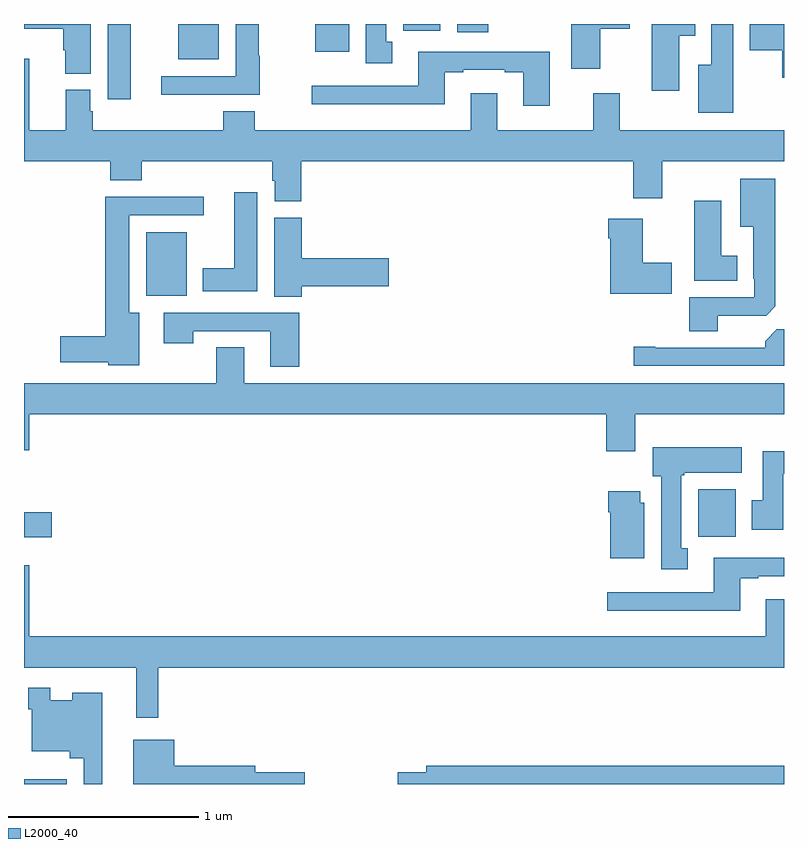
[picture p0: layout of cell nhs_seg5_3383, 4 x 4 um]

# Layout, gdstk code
import gdstk
lib = gdstk.Library(unit=1e-6, precision=1e-09)
def R(c, l, rs):  # rectangles x0, y0, x1, y1
    for r in rs: c.add(gdstk.rectangle(r[:2], r[2:], *l))
def P(c, l, *ps):  # polygons
    for p in ps: c.add(gdstk.Polygon(p, *l))
L2000_40 = (2000, 40)

nhs_seg5_3383 = lib.new_cell('nhs_seg5_3383')
R(nhs_seg5_3383, L2000_40, [(309,870.799,309.226,870.823), (309,872.099,309.145,872.229), (312.549,872.1,312.745,872.35), (309.644,873.368,309.856,873.703), (309.44,874.404,309.562,874.799), (309.812,874.613,310.024,874.799), (310.532,874.652,310.711,874.799), (311.279,874.755,311.443,874.799), (310.995,874.764,311.191,874.799)])
P(nhs_seg5_3383, L2000_40, [(312.448,874.736),(312.532,874.736),(312.532,874.799),(312.305,874.799),(312.305,874.449),(312.448,874.449)],
  [(310.939,874.705),(310.906,874.705),(310.906,874.799),(310.799,874.799),(310.799,874.593),(310.939,874.593)],
  [(310.241,874.631),(310.236,874.631),(310.236,874.799),(310.115,874.799),(310.115,874.524),(309.723,874.524),(309.723,874.427),(310.241,874.427)],
  [(313,874.799),(312.821,874.799),(312.821,874.661),(312.992,874.661),(312.992,874.515),(313,874.515)],
  [(312.034,874.774),(312.187,874.774),(312.187,874.799),(311.879,874.799),(311.879,874.563),(312.034,874.563)],
  [(312.733,874.799),(312.617,874.799),(312.617,874.585),(312.548,874.585),(312.548,874.331),(312.733,874.331)],
  [(309.352,874.799),(309,874.799),(309,874.775),(309.206,874.775),(309.206,874.661),(309.218,874.661),(309.218,874.537),(309.352,874.537)],
  [(311.767,874.654),(311.539,874.654),(311.539,874.653),(311.075,874.653),(311.075,874.473),(310.515,874.473),(310.515,874.376),(311.215,874.376),(311.215,874.545),(311.311,874.545),(311.311,874.557),(311.531,874.557),(311.531,874.545),(311.627,874.545),(311.627,874.368),(311.767,874.368)],
  [(309.349,874.341),(309.349,874.452),(309.221,874.452),(309.221,874.24),(309.028,874.24),(309.028,874.615),(309,874.615),(309,874.076),(309.455,874.076),(309.455,873.977),(309.62,873.977),(309.62,874.076),(310.307,874.076),(310.307,873.975),(310.319,873.975),(310.319,873.865),(310.46,873.865),(310.46,874.076),(312.206,874.076),(312.206,873.882),(312.358,873.882),(312.358,874.076),(313,874.076),(313,874.24),(312.136,874.24),(312.136,874.435),(311.996,874.435),(311.996,874.24),(311.491,874.24),(311.491,874.435),(311.351,874.435),(311.351,874.24),(310.214,874.24),(310.214,874.339),(310.049,874.339),(310.049,874.24),(309.362,874.24),(309.362,874.341)],
  [(312.652,873.264),(312.906,873.264),(312.955,873.313),(312.955,873.985),(312.77,873.985),(312.77,873.731),(312.839,873.731),(312.839,873.457),(312.843,873.457),(312.843,873.36),(312.5,873.36),(312.5,873.181),(312.652,873.181)],
  [(310.228,873.913),(310.106,873.913),(310.106,873.514),(309.941,873.514),(309.941,873.392),(310.228,873.392)],
  [(309.607,873.28),(309.553,873.28),(309.553,873.792),(309.946,873.792),(309.946,873.89),(309.428,873.89),(309.428,873.155),(309.192,873.155),(309.192,873.02),(309.444,873.02),(309.444,873.002),(309.607,873.002)],
  [(312.754,873.58),(312.67,873.58),(312.67,873.868),(312.527,873.868),(312.527,873.449),(312.754,873.449)],
  [(310.463,873.419),(310.921,873.419),(310.921,873.566),(310.463,873.566),(310.463,873.78),(310.316,873.78),(310.316,873.364),(310.463,873.364)],
  [(312.409,873.543),(312.256,873.543),(312.256,873.775),(312.074,873.775),(312.074,873.671),(312.086,873.671),(312.086,873.38),(312.409,873.38)],
  [(310.448,873.279),(309.735,873.279),(309.735,873.12),(309.891,873.12),(309.891,873.183),(310.295,873.183),(310.295,872.994),(310.448,872.994)],
  [(313,873.192),(312.963,873.192),(312.902,873.13),(312.902,873.096),(312.322,873.096),(312.322,873.101),(312.21,873.101),(312.21,873),(313,873)],
  [(312.217,872.744),(313,872.744),(313,872.908),(310.159,872.908),(310.159,873.098),(310.012,873.098),(310.012,872.908),(309,872.908),(309,872.556),(309.028,872.556),(309.028,872.744),(312.065,872.744),(312.065,872.55),(312.217,872.55)],
  [(312.493,872.041),(312.46,872.041),(312.46,872.425),(312.474,872.425),(312.474,872.438),(312.778,872.438),(312.778,872.572),(312.308,872.572),(312.308,872.418),(312.353,872.418),(312.353,871.929),(312.493,871.929)],
  [(312.997,872.432),(313,872.432),(313,872.551),(312.887,872.551),(312.887,872.292),(312.83,872.292),(312.83,872.136),(312.997,872.136)],
  [(312.265,872.28),(312.244,872.28),(312.244,872.341),(312.074,872.341),(312.074,872.228),(312.086,872.228),(312.086,871.988),(312.265,871.988)],
  [(312.769,871.881),(312.865,871.881),(312.865,871.893),(313,871.893),(313,871.99),(312.629,871.99),(312.629,871.809),(312.069,871.809),(312.069,871.712),(312.769,871.712)],
  [(309.028,871.951),(309,871.951),(309,871.412),(309.59,871.412),(309.59,871.149),(309.707,871.149),(309.707,871.412),(313,871.412),(313,871.771),(312.905,871.771),(312.905,871.576),(309.028,871.576)],
  [(309.412,871.279),(309.254,871.279),(309.254,871.24),(309.138,871.24),(309.138,871.306),(309.022,871.306),(309.022,871.193),(309.042,871.193),(309.042,870.971),(309.242,870.971),(309.242,870.935),(309.315,870.935),(309.315,870.799),(309.412,870.799)],
  [(310.477,870.86),(310.216,870.86),(310.216,870.896),(309.79,870.896),(309.79,871.033),(309.575,871.033),(309.575,870.799),(310.477,870.799)],
  [(313,870.896),(311.117,870.896),(311.117,870.86),(310.968,870.86),(310.968,870.799),(313,870.799)])

lib.write_gds('nhs_seg5_3383.gds')
